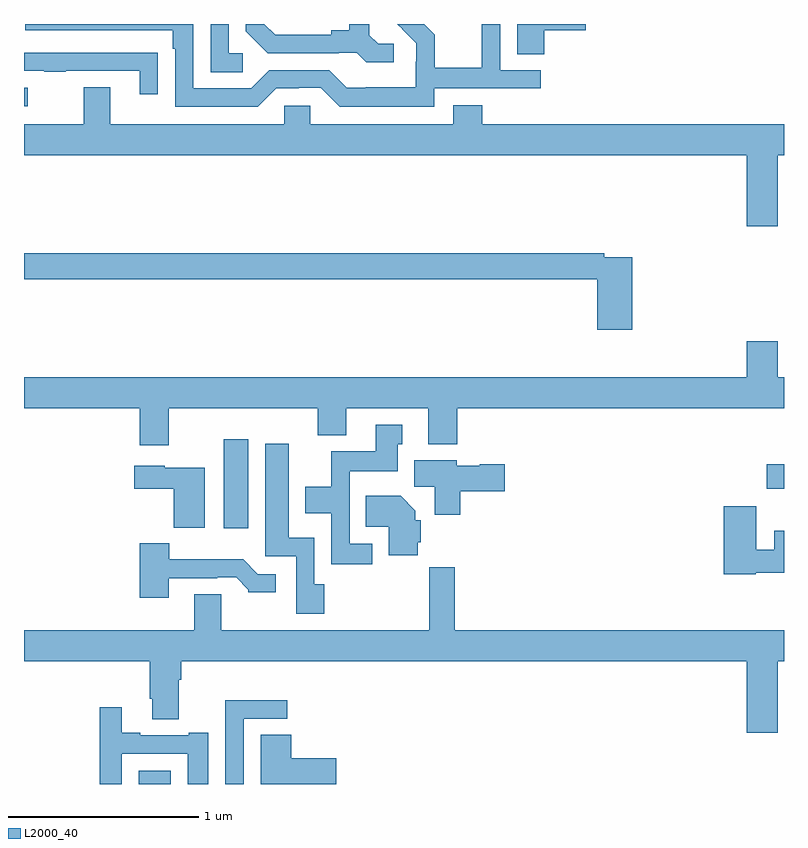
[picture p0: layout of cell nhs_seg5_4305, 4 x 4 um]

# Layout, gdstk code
import gdstk
lib = gdstk.Library(unit=1e-6, precision=1e-09)
def R(c, l, rs):  # rectangles x0, y0, x1, y1
    for r in rs: c.add(gdstk.rectangle(r[:2], r[2:], *l))
def P(c, l, *ps):  # polygons
    for p in ps: c.add(gdstk.Polygon(p, *l))
L2000_40 = (2000, 40)

nhs_seg5_4305 = lib.new_cell('nhs_seg5_4305')
R(nhs_seg5_4305, L2000_40, [(365.603,838.799,365.773,838.87), (366.05,840.144,366.181,840.613), (368.91,840.353,369,840.483), (365,842.367,365.02,842.463)])
P(nhs_seg5_4305, L2000_40, [(367.739,842.765),(367.957,842.765),(367.957,842.799),(367.595,842.799),(367.595,842.641),(367.739,842.641)],
  [(366.151,842.646),(366.078,842.646),(366.078,842.799),(365.982,842.799),(365.982,842.545),(366.151,842.545)],
  [(366.946,842.694),(366.864,842.694),(366.817,842.741),(366.817,842.799),(366.713,842.799),(366.713,842.765),(366.617,842.765),(366.617,842.742),(366.322,842.742),(366.265,842.799),(366.168,842.799),(366.168,842.762),(366.284,842.646),(366.656,842.646),(366.656,842.649),(366.75,842.649),(366.802,842.597),(366.946,842.597)],
  [(367.158,842.46),(367.72,842.46),(367.72,842.556),(367.506,842.556),(367.506,842.799),(367.41,842.799),(367.41,842.792),(367.408,842.792),(367.408,842.569),(367.163,842.569),(367.163,842.743),(367.107,842.799),(366.965,842.799),(366.991,842.773),(366.99,842.772),(367.064,842.698),(367.064,842.601),(367.062,842.601),(367.062,842.467),(366.799,842.467),(366.799,842.463),(366.699,842.463),(366.606,842.556),(366.291,842.556),(366.195,842.46),(365.892,842.46),(365.892,842.799),(365.007,842.799),(365.007,842.766),(365.783,842.766),(365.783,842.669),(365.796,842.669),(365.796,842.364),(366.231,842.364),(366.327,842.46),(366.446,842.46),(366.446,842.463),(366.561,842.463),(366.661,842.363),(367.158,842.363)],
  [(365.705,842.648),(365.603,842.648),(365.603,842.649),(365,842.649),(365,842.553),(365.107,842.553),(365.107,842.548),(365.219,842.548),(365.219,842.553),(365.609,842.553),(365.609,842.43),(365.705,842.43)],
  [(368.968,842.108),(369,842.108),(369,842.272),(367.412,842.272),(367.412,842.371),(367.259,842.371),(367.259,842.272),(366.507,842.272),(366.507,842.37),(366.369,842.37),(366.369,842.272),(365.455,842.272),(365.455,842.467),(365.315,842.467),(365.315,842.272),(365,842.272),(365,842.108),(368.804,842.108),(368.804,841.734),(368.968,841.734)],
  [(368.201,841.572),(368.054,841.572),(368.054,841.592),(365,841.592),(365,841.456),(368.018,841.456),(368.018,841.191),(368.201,841.191)],
  [(365.761,840.776),(366.545,840.776),(366.545,840.635),(366.697,840.635),(366.697,840.776),(367.127,840.776),(367.127,840.587),(367.28,840.587),(367.28,840.776),(369,840.776),(369,840.94),(368.968,840.94),(368.968,841.129),(368.804,841.129),(368.804,840.94),(365,840.94),(365,840.776),(365.609,840.776),(365.609,840.582),(365.761,840.582)],
  [(366.832,840.063),(366.714,840.063),(366.714,840.446),(366.967,840.446),(366.967,840.588),(366.991,840.588),(366.991,840.691),(366.851,840.691),(366.851,840.55),(366.616,840.55),(366.616,840.364),(366.479,840.364),(366.479,840.224),(366.618,840.224),(366.618,839.955),(366.832,839.955)],
  [(366.581,839.85),(366.528,839.85),(366.528,840.094),(366.394,840.094),(366.394,840.589),(366.269,840.589),(366.269,839.997),(366.432,839.997),(366.432,839.694),(366.581,839.694)],
  [(367.295,840.341),(367.531,840.341),(367.531,840.483),(367.398,840.483),(367.398,840.475),(367.278,840.475),(367.278,840.502),(367.055,840.502),(367.055,840.364),(367.162,840.364),(367.162,840.216),(367.295,840.216)],
  [(365.95,840.463),(365.742,840.463),(365.742,840.475),(365.58,840.475),(365.58,840.353),(365.788,840.353),(365.788,840.149),(365.95,840.149)],
  [(367.073,840.072),(367.087,840.072),(367.087,840.186),(367.06,840.186),(367.06,840.238),(366.982,840.316),(366.799,840.316),(366.799,840.152),(366.92,840.152),(366.92,840.002),(367.073,840.002)],
  [(368.85,839.91),(369,839.91),(369,840.132),(368.949,840.132),(368.949,840.031),(368.854,840.031),(368.854,840.262),(368.684,840.262),(368.684,839.902),(368.85,839.902)],
  [(365.761,839.883),(366.017,839.883),(366.017,839.886),(366.116,839.886),(366.18,839.822),(366.18,839.807),(366.325,839.807),(366.325,839.904),(366.231,839.904),(366.153,839.983),(365.764,839.983),(365.764,840.067),(365.609,840.067),(365.609,839.778),(365.761,839.778)],
  [(368.968,839.444),(369,839.444),(369,839.608),(367.268,839.608),(367.268,839.941),(367.132,839.941),(367.132,839.608),(366.037,839.608),(366.037,839.798),(365.897,839.798),(365.897,839.608),(365,839.608),(365,839.444),(365.663,839.444),(365.663,839.248),(365.675,839.248),(365.675,839.14),(365.815,839.14),(365.815,839.348),(365.828,839.348),(365.828,839.444),(368.804,839.444),(368.804,839.07),(368.968,839.07)],
  [(366.156,839.142),(366.385,839.142),(366.385,839.24),(366.06,839.24),(366.06,838.799),(366.156,838.799)],
  [(365.514,838.959),(365.861,838.959),(365.861,838.799),(365.971,838.799),(365.971,839.068),(365.867,839.068),(365.867,839.055),(365.611,839.055),(365.611,839.068),(365.515,839.068),(365.515,839.203),(365.398,839.203),(365.398,838.799),(365.514,838.799)],
  [(366.643,838.934),(366.407,838.934),(366.407,839.057),(366.245,839.057),(366.245,838.799),(366.643,838.799)])

lib.write_gds('nhs_seg5_4305.gds')
